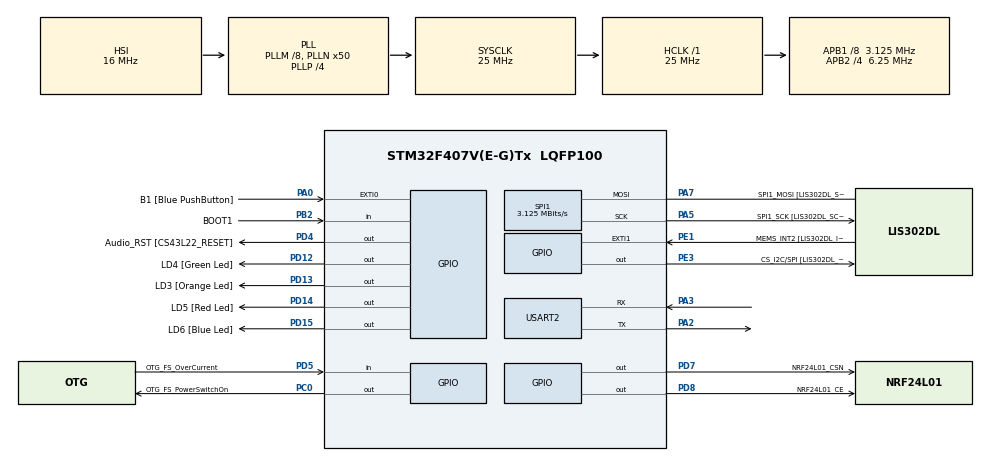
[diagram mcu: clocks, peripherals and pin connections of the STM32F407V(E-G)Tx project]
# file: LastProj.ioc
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Mcu.Family=STM32F4
Mcu.Name=STM32F407V(E-G)Tx
Mcu.Package=LQFP100
NVIC.PriorityGroup=NVIC_PRIORITYGROUP_0
NVIC.USART2_IRQn=true\:0\:0\:false\:false\:true\:true
PA0-WKUP.GPIO_Label=B1 [Blue PushButton]
PA0-WKUP.GPIO_ModeDefaultEXTI=GPIO_MODE_EVT_RISING
PA0-WKUP.GPIO_PuPd=GPIO_NOPULL
PA0-WKUP.Signal=GPXTI0
PA2.Mode=Asynchronous
PA2.Signal=USART2_TX
PA3.Mode=Asynchronous
PA3.Signal=USART2_RX
PA5.GPIO_Label=SPI1_SCK [LIS302DL_SCL/SPC]
PA5.GPIO_Mode=GPIO_MODE_AF_PP
PA5.GPIO_PuPd=GPIO_NOPULL
PA5.GPIO_Speed=GPIO_SPEED_FREQ_LOW
PA5.Mode=Simplex_Bidirectional_Master
PA5.Signal=SPI1_SCK
PA7.GPIO_Label=SPI1_MOSI [LIS302DL_SDA/SDI/SDO]
PA7.GPIO_Mode=GPIO_MODE_AF_PP
PA7.GPIO_PuPd=GPIO_NOPULL
PA7.GPIO_Speed=GPIO_SPEED_FREQ_LOW
PA7.Mode=Simplex_Bidirectional_Master
PA7.Signal=SPI1_MOSI
<<<<<<< HEAD
PB10.GPIO_Label=CLK_IN [MP45DT02_CLK]
PB10.GPIO_Mode=GPIO_MODE_AF_PP
PB10.GPIO_PuPd=GPIO_NOPULL
PB10.GPIO_Speed=GPIO_SPEED_FREQ_LOW
PB10.Signal=I2S2_CK
=======
>>>>>>> 92230bd22544ab0556aea3223e19c28c2251bac1
PB2.GPIO_Label=BOOT1
PB2.GPIO_Mode=GPIO_MODE_INPUT
PB2.GPIO_PuPd=GPIO_NOPULL
PB2.Signal=GPIO_Input
PB3.GPIO_Label=SWO
PB3.Signal=SYS_JTDO-SWO
<<<<<<< HEAD
=======
>>>>>>> 92230bd22544ab0556aea3223e19c28c2251bac1
PC0.GPIO_Label=OTG_FS_PowerSwitchOn
PC0.GPIO_PuPd=GPIO_NOPULL
PC0.GPIO_Speed=GPIO_SPEED_FREQ_LOW
PC0.PinState=GPIO_PIN_SET
PC0.Signal=GPIO_Output
PC10.GPIO_Label=I2S3_SCK [CS43L22_SCLK]
PC10.GPIO_Mode=GPIO_MODE_AF_PP
PC10.GPIO_PuPd=GPIO_NOPULL
PC10.GPIO_Speed=GPIO_SPEED_FREQ_LOW
PC10.Signal=I2S3_CK
PC12.GPIO_Label=I2S3_SD [CS43L22_SDIN]
PC12.GPIO_Mode=GPIO_MODE_AF_PP
PC12.GPIO_PuPd=GPIO_NOPULL
PC12.GPIO_Speed=GPIO_SPEED_FREQ_LOW
PC12.Signal=I2S3_SD
PC3.GPIO_Label=PDM_OUT [MP45DT02_DOUT]
PC3.GPIO_Mode=GPIO_MODE_AF_PP
PC3.GPIO_PuPd=GPIO_NOPULL
PC3.GPIO_Speed=GPIO_SPEED_FREQ_LOW
PC3.Signal=I2S2_SD
PD12.GPIO_Label=LD4 [Green Led]
PD12.GPIO_PuPd=GPIO_NOPULL
PD12.GPIO_Speed=GPIO_SPEED_FREQ_LOW
PD12.Signal=GPIO_Output
PD13.GPIO_Label=LD3 [Orange Led]
PD13.GPIO_PuPd=GPIO_NOPULL
PD13.GPIO_Speed=GPIO_SPEED_FREQ_LOW
PD13.Signal=GPIO_Output
PD14.GPIO_Label=LD5 [Red Led]
PD14.GPIO_PuPd=GPIO_NOPULL
PD14.GPIO_Speed=GPIO_SPEED_FREQ_LOW
PD14.Signal=GPIO_Output
PD15.GPIO_Label=LD6 [Blue Led]
PD15.GPIO_PuPd=GPIO_NOPULL
PD15.GPIO_Speed=GPIO_SPEED_FREQ_LOW
PD15.Signal=GPIO_Output
PD4.GPIO_Label=Audio_RST [CS43L22_RESET]
PD4.GPIO_PuPd=GPIO_NOPULL
PD4.GPIO_Speed=GPIO_SPEED_FREQ_LOW
PD4.Signal=GPIO_Output
PD5.GPIO_Label=OTG_FS_OverCurrent
PD5.GPIO_Mode=GPIO_MODE_INPUT
PD5.GPIO_PuPd=GPIO_NOPULL
PD5.Signal=GPIO_Input
PD7.GPIO_Label=NRF24L01_CSN
PD7.Signal=GPIO_Output
PD8.GPIO_Label=NRF24L01_CE
PD8.Signal=GPIO_Output
PE1.GPIO_Label=MEMS_INT2 [LIS302DL_INT2]
PE1.GPIO_ModeDefaultEXTI=GPIO_MODE_EVT_RISING
PE1.GPIO_PuPd=GPIO_NOPULL
PE1.Signal=GPXTI1
PE3.GPIO_Label=CS_I2C/SPI [LIS302DL_CS_I2C/SPI]
PE3.GPIO_PuPd=GPIO_NOPULL
PE3.GPIO_Speed=GPIO_SPEED_FREQ_LOW
PE3.Signal=GPIO_Output
ProjectManager.HeapSize=0x200
ProjectManager.StackSize=0x400
ProjectManager.TargetToolchain=MDK-ARM V5
RCC.48MHZClocksFreq_Value=14285714.285714285
RCC.AHBFreq_Value=25000000
RCC.APB1CLKDivider=RCC_HCLK_DIV8
RCC.APB1Freq_Value=3125000
RCC.APB1TimFreq_Value=6250000
RCC.APB2CLKDivider=RCC_HCLK_DIV4
RCC.APB2Freq_Value=6250000
RCC.APB2TimFreq_Value=12500000
RCC.CortexFreq_Value=25000000
RCC.HCLKFreq_Value=25000000
RCC.HSE_VALUE=8000000
RCC.HSI_VALUE=16000000
RCC.LSE_VALUE=32768
RCC.PLLM=8
RCC.PLLN=50
RCC.PLLP=RCC_PLLP_DIV4
RCC.PLLQ=7
RCC.SYSCLKFreq_VALUE=25000000
RCC.SYSCLKSource=RCC_SYSCLKSOURCE_PLLCLK
RCC.VCOOutputFreq_Value=100000000
SPI1.CalculateBaudRate=3.125 MBits/s
SPI1.Direction=SPI_DIRECTION_1LINE
SPI1.Mode=SPI_MODE_MASTER
SPI1.VirtualType=VM_MASTER
USART2.VirtualMode=VM_ASYNC
board=STM32F4DISCOVERY

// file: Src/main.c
/* USER CODE BEGIN Header */
/**
  ******************************************************************************
  * @file           : main.c
  * @brief          : Main program body
  ******************************************************************************
  ** This notice applies to any and all portions of this file
  * that are not between comment pairs USER CODE BEGIN and
  * USER CODE END. Other portions of this file, whether
  * inserted by the user or by software development tools
  * are owned by their respective copyright owners.
  *
  * COPYRIGHT(c) 2019 STMicroelectronics
  *
  * Redistribution and use in source and binary forms, with or without modification,
  * are permitted provided that the following conditions are met:
  *   1. Redistributions of source code must retain the above copyright notice,
  *      this list of conditions and the following disclaimer.
  *   2. Redistributions in binary form must reproduce the above copyright notice,
  *      this list of conditions and the following disclaimer in the documentation
  *      and/or other materials provided with the distribution.
  *   3. Neither the name of STMicroelectronics nor the names of its contributors
  *      may be used to endorse or promote products derived from this software
  *      without specific prior written permission.
  *
  * THIS SOFTWARE IS PROVIDED BY THE COPYRIGHT HOLDERS AND CONTRIBUTORS "AS IS"
  * AND ANY EXPRESS OR IMPLIED WARRANTIES, INCLUDING, BUT NOT LIMITED TO, THE
  * IMPLIED WARRANTIES OF MERCHANTABILITY AND FITNESS FOR A PARTICULAR PURPOSE ARE
  * DISCLAIMED. IN NO EVENT SHALL THE COPYRIGHT HOLDER OR CONTRIBUTORS BE LIABLE
  * FOR ANY DIRECT, INDIRECT, INCIDENTAL, SPECIAL, EXEMPLARY, OR CONSEQUENTIAL
  * DAMAGES (INCLUDING, BUT NOT LIMITED TO, PROCUREMENT OF SUBSTITUTE GOODS OR
  * SERVICES; LOSS OF USE, DATA, OR PROFITS; OR BUSINESS INTERRUPTION) HOWEVER
  * CAUSED AND ON ANY THEORY OF LIABILITY, WHETHER IN CONTRACT, STRICT LIABILITY,
  * OR TORT (INCLUDING NEGLIGENCE OR OTHERWISE) ARISING IN ANY WAY OUT OF THE USE
  * OF THIS SOFTWARE, EVEN IF ADVISED OF THE POSSIBILITY OF SUCH DAMAGE.
  *
  ******************************************************************************
  */
/* USER CODE END Header */

#include "main.h"

/* USER CODE BEGIN Includes */
#include "nrf.h"
#include "string.h"
/* USER CODE END Includes */

SPI_HandleTypeDef hspi1;

UART_HandleTypeDef huart2;

void SystemClock_Config(void);
static void MX_GPIO_Init(void);
static void MX_USART2_UART_Init(void);
static void MX_SPI1_Init(void);
/* USER CODE BEGIN PFP */

volatile extern int flag;
volatile int flag = 0 ;

//------------------------------uart-functions--------------------------------------
uint64_t RxpipeAddrs = 0x11223344AA;
const void* myAckPayload ;
int input_num = 0 ;
char input_data[32] ;
char c1;
char* c = &c1;
char c2;
char* c3 = &c2;
uint64_t TxpipeAddrs = 0x11223344AA;
char myTxData[32] ;
char AckPayload[32];
char myRxData[50];

void print(const char* msg){
	static uint8_t newline = '\n';
	int l = strlen(msg);
	HAL_UART_Transmit(&huart2, (uint8_t*) msg, l, 100);
	HAL_UART_Transmit(&huart2, &newline, 1, 100);
}

void get_input(void){

	print("ENTER number of input charachters:");
	while(HAL_UART_Receive(&huart2, (unsigned char*)c3,32,HAL_MAX_DELAY) != HAL_OK){};
	input_num = (uint32_t)(c[0] - '0') + (uint32_t)((c[1] - '0')*10);
	if (input_num > 32)
	{
	input_num = 32;
	}
	while(HAL_UART_Receive(&huart2, (unsigned char*)c,(uint8_t)input_num,HAL_MAX_DELAY) != HAL_OK){};
	for(int i = 0; i < input_num ; i++) input_data[i] = c[i];
}

void TransferMode(void){
	//-----------------------------Tx-setting-----------------------------
			get_input();
			NRF24_stopListening();
			NRF24_openWritingPipe(TxpipeAddrs);
			NRF24_setAutoAck(true);
			NRF24_setChannel(52);
			NRF24_setPayloadSize(32);
			NRF24_enableAckPayload();

			if(NRF24_write(myTxData, 32))
			{
				NRF24_read(AckPayload, 32);
				print("Transmitted Successfully\r\n");

				char myDataack[80];
				sprintf(myDataack, "AckPayload:  %s \r\n", AckPayload);
				print(myDataack);
				flag = 0 ;
			}
}
void ReceiveMode(void){
		//-----------------------------Rx-setting----------------------------------
		NRF24_setAutoAck(true);
		NRF24_setChannel(52);
		NRF24_setPayloadSize(32);
		NRF24_openReadingPipe(1, RxpipeAddrs);
		NRF24_enableDynamicPayloads();
		NRF24_enableAckPayload();

		NRF24_startListening();

		if(NRF24_available())
		{
			NRF24_read(myRxData, 32);
			NRF24_writeAckPayload(1, myAckPayload, 32);
			myRxData[32] = '\r'; myRxData[32+1] = '\n';
			print(myRxData);
		}
}
/* USER CODE END PFP */

int main(void)
{
  /* USER CODE BEGIN 1 */
	//TM_NRF24L01_PowerUpRx();
  /* USER CODE END 1 */

  /* MCU Configuration--------------------------------------------------------*/

  /* Reset of all peripherals, Initializes the Flash interface and the Systick. */
  HAL_Init();

  /* Configure the system clock */
  SystemClock_Config();

  /* Initialize all configured peripherals */
  MX_GPIO_Init();
  MX_USART2_UART_Init();
  MX_SPI1_Init();
  /* USER CODE BEGIN 2 */
	//-----------------------------nrf-startup----------------------------------
	NRF24_begin(GPIOB, NRF24L01_CSN_Pin, GPIO_PIN_9, hspi1);

  /* USER CODE END 2 */

  /* Infinite loop */
  while (1)
  {

    /* USER CODE BEGIN 3 */

		if (flag == 1){
			for(int i = 0; i < 32 ; i++) myTxData[i] = input_data[i] ;
			TransferMode();

		}

	ReceiveMode();

  }
  /* USER CODE END 3 */
}

void SystemClock_Config(void)
{
  RCC_OscInitTypeDef RCC_OscInitStruct = {0};
  RCC_ClkInitTypeDef RCC_ClkInitStruct = {0};

  /**Configure the main internal regulator output voltage
  */
  __HAL_RCC_PWR_CLK_ENABLE();
  __HAL_PWR_VOLTAGESCALING_CONFIG(PWR_REGULATOR_VOLTAGE_SCALE1);
  /**Initializes the CPU, AHB and APB busses clocks
  */
  RCC_OscInitStruct.OscillatorType = RCC_OSCILLATORTYPE_HSI;
  RCC_OscInitStruct.HSIState = RCC_HSI_ON;
  RCC_OscInitStruct.HSICalibrationValue = RCC_HSICALIBRATION_DEFAULT;
  RCC_OscInitStruct.PLL.PLLState = RCC_PLL_ON;
  RCC_OscInitStruct.PLL.PLLSource = RCC_PLLSOURCE_HSI;
  RCC_OscInitStruct.PLL.PLLM = 8;
  RCC_OscInitStruct.PLL.PLLN = 50;
  RCC_OscInitStruct.PLL.PLLP = RCC_PLLP_DIV4;
  RCC_OscInitStruct.PLL.PLLQ = 7;
  if (HAL_RCC_OscConfig(&RCC_OscInitStruct) != HAL_OK)
  {
    Error_Handler();
  }
  /**Initializes the CPU, AHB and APB busses clocks
  */
  RCC_ClkInitStruct.ClockType = RCC_CLOCKTYPE_HCLK|RCC_CLOCKTYPE_SYSCLK
                              |RCC_CLOCKTYPE_PCLK1|RCC_CLOCKTYPE_PCLK2;
  RCC_ClkInitStruct.SYSCLKSource = RCC_SYSCLKSOURCE_PLLCLK;
  RCC_ClkInitStruct.AHBCLKDivider = RCC_SYSCLK_DIV1;
  RCC_ClkInitStruct.APB1CLKDivider = RCC_HCLK_DIV8;
  RCC_ClkInitStruct.APB2CLKDivider = RCC_HCLK_DIV4;

  if (HAL_RCC_ClockConfig(&RCC_ClkInitStruct, FLASH_LATENCY_0) != HAL_OK)
  {
    Error_Handler();
  }
}

static void MX_SPI1_Init(void)
{

  /* SPI1 parameter configuration*/
  hspi1.Instance = SPI1;
  hspi1.Init.Mode = SPI_MODE_MASTER;
  hspi1.Init.Direction = SPI_DIRECTION_1LINE;
  hspi1.Init.DataSize = SPI_DATASIZE_8BIT;
  hspi1.Init.CLKPolarity = SPI_POLARITY_LOW;
  hspi1.Init.CLKPhase = SPI_PHASE_1EDGE;
  hspi1.Init.NSS = SPI_NSS_SOFT;
  hspi1.Init.BaudRatePrescaler = SPI_BAUDRATEPRESCALER_2;
  hspi1.Init.FirstBit = SPI_FIRSTBIT_MSB;
  hspi1.Init.TIMode = SPI_TIMODE_DISABLE;
  hspi1.Init.CRCCalculation = SPI_CRCCALCULATION_DISABLE;
  hspi1.Init.CRCPolynomial = 10;
  if (HAL_SPI_Init(&hspi1) != HAL_OK)
  {
    Error_Handler();
  }

}

static void MX_USART2_UART_Init(void)
{

  huart2.Instance = USART2;
  huart2.Init.BaudRate = 115200;
  huart2.Init.WordLength = UART_WORDLENGTH_8B;
  huart2.Init.StopBits = UART_STOPBITS_1;
  huart2.Init.Parity = UART_PARITY_NONE;
  huart2.Init.Mode = UART_MODE_TX_RX;
  huart2.Init.HwFlowCtl = UART_HWCONTROL_NONE;
  huart2.Init.OverSampling = UART_OVERSAMPLING_16;
  if (HAL_UART_Init(&huart2) != HAL_OK)
  {
    Error_Handler();
  }

}

static void MX_GPIO_Init(void)
{
  GPIO_InitTypeDef GPIO_InitStruct = {0};

  /* GPIO Ports Clock Enable */
  __HAL_RCC_GPIOE_CLK_ENABLE();
  __HAL_RCC_GPIOC_CLK_ENABLE();
  __HAL_RCC_GPIOA_CLK_ENABLE();
  __HAL_RCC_GPIOB_CLK_ENABLE();
  __HAL_RCC_GPIOD_CLK_ENABLE();

  /*Configure GPIO pin Output Level */
  HAL_GPIO_WritePin(CS_I2C_SPI_GPIO_Port, CS_I2C_SPI_Pin, GPIO_PIN_RESET);

  /*Configure GPIO pin Output Level */
  HAL_GPIO_WritePin(OTG_FS_PowerSwitchOn_GPIO_Port, OTG_FS_PowerSwitchOn_Pin, GPIO_PIN_SET);

  /*Configure GPIO pin Output Level */
  HAL_GPIO_WritePin(GPIOD, NRF24L01_CE_Pin|LD4_Pin|LD3_Pin|LD5_Pin
                          |LD6_Pin|Audio_RST_Pin|NRF24L01_CSN_Pin, GPIO_PIN_RESET);

  /*Configure GPIO pin : CS_I2C_SPI_Pin */
  GPIO_InitStruct.Pin = CS_I2C_SPI_Pin;
  GPIO_InitStruct.Mode = GPIO_MODE_OUTPUT_PP;
  GPIO_InitStruct.Pull = GPIO_NOPULL;
  GPIO_InitStruct.Speed = GPIO_SPEED_FREQ_LOW;
  HAL_GPIO_Init(CS_I2C_SPI_GPIO_Port, &GPIO_InitStruct);

  /*Configure GPIO pin : OTG_FS_PowerSwitchOn_Pin */
  GPIO_InitStruct.Pin = OTG_FS_PowerSwitchOn_Pin;
  GPIO_InitStruct.Mode = GPIO_MODE_OUTPUT_PP;
  GPIO_InitStruct.Pull = GPIO_NOPULL;
  GPIO_InitStruct.Speed = GPIO_SPEED_FREQ_LOW;
  HAL_GPIO_Init(OTG_FS_PowerSwitchOn_GPIO_Port, &GPIO_InitStruct);

  /*Configure GPIO pin : PDM_OUT_Pin */
  GPIO_InitStruct.Pin = PDM_OUT_Pin;
  GPIO_InitStruct.Mode = GPIO_MODE_AF_PP;
  GPIO_InitStruct.Pull = GPIO_NOPULL;
  GPIO_InitStruct.Speed = GPIO_SPEED_FREQ_LOW;
  GPIO_InitStruct.Alternate = GPIO_AF5_SPI2;
  HAL_GPIO_Init(PDM_OUT_GPIO_Port, &GPIO_InitStruct);

  /*Configure GPIO pin : B1_Pin */
  GPIO_InitStruct.Pin = B1_Pin;
  GPIO_InitStruct.Mode = GPIO_MODE_EVT_RISING;
  GPIO_InitStruct.Pull = GPIO_NOPULL;
  HAL_GPIO_Init(B1_GPIO_Port, &GPIO_InitStruct);

  /*Configure GPIO pin : BOOT1_Pin */
  GPIO_InitStruct.Pin = BOOT1_Pin;
  GPIO_InitStruct.Mode = GPIO_MODE_INPUT;
  GPIO_InitStruct.Pull = GPIO_NOPULL;
  HAL_GPIO_Init(BOOT1_GPIO_Port, &GPIO_InitStruct);

  /*Configure GPIO pins : NRF24L01_CE_Pin LD4_Pin LD3_Pin LD5_Pin
                           LD6_Pin Audio_RST_Pin NRF24L01_CSN_Pin */
  GPIO_InitStruct.Pin = NRF24L01_CE_Pin|LD4_Pin|LD3_Pin|LD5_Pin
                          |LD6_Pin|Audio_RST_Pin|NRF24L01_CSN_Pin;
  GPIO_InitStruct.Mode = GPIO_MODE_OUTPUT_PP;
  GPIO_InitStruct.Pull = GPIO_NOPULL;
  GPIO_InitStruct.Speed = GPIO_SPEED_FREQ_LOW;
  HAL_GPIO_Init(GPIOD, &GPIO_InitStruct);

  /*Configure GPIO pins : I2S3_SCK_Pin I2S3_SD_Pin */
  GPIO_InitStruct.Pin = I2S3_SCK_Pin|I2S3_SD_Pin;
  GPIO_InitStruct.Mode = GPIO_MODE_AF_PP;
  GPIO_InitStruct.Pull = GPIO_NOPULL;
  GPIO_InitStruct.Speed = GPIO_SPEED_FREQ_LOW;
  GPIO_InitStruct.Alternate = GPIO_AF6_SPI3;
  HAL_GPIO_Init(GPIOC, &GPIO_InitStruct);

  /*Configure GPIO pin : OTG_FS_OverCurrent_Pin */
  GPIO_InitStruct.Pin = OTG_FS_OverCurrent_Pin;
  GPIO_InitStruct.Mode = GPIO_MODE_INPUT;
  GPIO_InitStruct.Pull = GPIO_NOPULL;
  HAL_GPIO_Init(OTG_FS_OverCurrent_GPIO_Port, &GPIO_InitStruct);

  /*Configure GPIO pin : MEMS_INT2_Pin */
  GPIO_InitStruct.Pin = MEMS_INT2_Pin;
  GPIO_InitStruct.Mode = GPIO_MODE_EVT_RISING;
  GPIO_InitStruct.Pull = GPIO_NOPULL;
  HAL_GPIO_Init(MEMS_INT2_GPIO_Port, &GPIO_InitStruct);

}

void Error_Handler(void)
{
}

/************************ (C) COPYRIGHT STMicroelectronics *****END OF FILE****/
